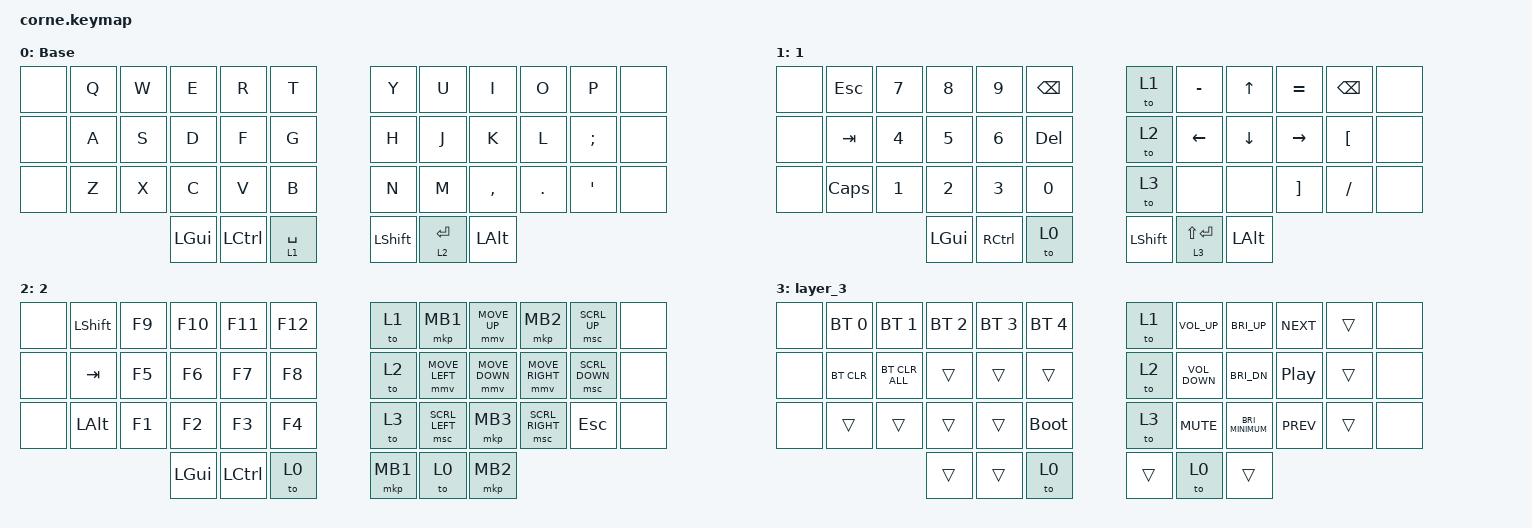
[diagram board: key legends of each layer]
/*
 * Copyright (c) 2020 The ZMK Contributors
 *
 * SPDX-License-Identifier: MIT
 */

#include <behaviors.dtsi>
#include <dt-bindings/zmk/bt.h>
#include <dt-bindings/zmk/keys.h>
#include <dt-bindings/zmk/pointing.h>

#define ZMK_POINTING_DEFAULT_MOVE_VAL 1500  // default: 600
#define ZMK_POINTING_DEFAULT_SCRL_VAL 20    // default: 10

/ {
    behaviors {
        new_behavior: new_behavior {
            compatible = "zmk,behavior-mouse-key-press";
            label = "NEW_BEHAVIOR";
            #binding-cells = <1>;
        };

        new_behavior1: new_behavior1 {
            compatible = "zmk,behavior-input-two-axis";
            label = "NEW_BEHAVIOR1";
            #binding-cells = <1>;
            x-input-code = <0>;
            y-input-code = <0>;
            time-to-max-speed-ms = <(-200)>;
        };
    };

    keymap {
        compatible = "zmk,keymap";

        default_layer {
            // -----------------------------------------------------------------------------------------
            // |  TAB |  Q  |  W  |  E  |  R  |  T  |   |  Y  |  U   |  I  |  O  |  P  | BKSP |
            // | CTRL |  A  |  S  |  D  |  F  |  G  |   |  H  |  J   |  K  |  L  |  ;  |  '   |
            // | SHFT |  Z  |  X  |  C  |  V  |  B  |   |  N  |  M   |  ,  |  .  |  /  | ESC  |
            //                    | GUI | LWR | SPC |   | ENT | RSE  | ALT |

            display-name = "Base";
            bindings = <
&none  &kp Q  &kp W  &kp E     &kp R      &kp T          &kp Y           &kp U        &kp I         &kp O    &kp P     &none
&none  &kp A  &kp S  &kp D     &kp F      &kp G          &kp H           &kp J        &kp K         &kp L    &kp SEMI  &none
&none  &kp Z  &kp X  &kp C     &kp V      &kp B          &kp N           &kp M        &kp COMMA     &kp DOT  &kp SQT   &none
                     &kp LGUI  &kp LCTRL  &lt 1 SPACE    &kp LEFT_SHIFT  &lt 2 ENTER  &kp LEFT_ALT
            >;
        };

        layer_1 {
            // -----------------------------------------------------------------------------------------
            // |  TAB |  1  |  2  |  3  |  4  |  5  |   |  6  |  7  |  8  |  9  |  0  | BKSP |
            // | BTCLR| BT1 | BT2 | BT3 | BT4 | BT5 |   | LFT | DWN |  UP | RGT |     |      |
            // | SHFT |     |     |     |     |     |   |     |     |     |     |     |      |
            //                    | GUI |     | SPC |   | ENT |     | ALT |

            display-name = "1";
            bindings = <
&none  &kp ESCAPE  &kp N7        &kp N8        &kp N9        &kp BACKSPACE    &to 1           &kp MINUS        &kp UP        &kp EQUAL          &kp BACKSPACE     &none
&none  &kp TAB     &kp NUMBER_4  &kp N5        &kp NUMBER_6  &kp DEL          &to 2           &kp LEFT         &kp DOWN      &kp RIGHT          &kp LEFT_BRACKET  &none
&none  &kp CAPS    &kp NUMBER_1  &kp NUMBER_2  &kp NUMBER_3  &kp N0           &to 3           &none            &none         &kp RIGHT_BRACKET  &kp FSLH          &none
                                 &kp LGUI      &kp RCTRL     &to 0            &kp LEFT_SHIFT  &lt 3 LS(ENTER)  &kp LEFT_ALT
            >;
        };

        layer_2 {
            // -----------------------------------------------------------------------------------------
            // |  TAB |  !  |  @  |  #  |  $  |  %  |   |  ^  |  &  |  *  |  (  |  )  | BKSP |
            // | CTRL |     |     |     |     |     |   |  -  |  =  |  [  |  ]  |  \  |  `   |
            // | SHFT |     |     |     |     |     |   |  _  |  +  |  {  |  }  | "|" |  ~   |
            //                    | GUI |     | SPC |   | ENT |     | ALT |

            display-name = "2";
            bindings = <
&none  &kp LEFT_SHIFT  &kp F9  &kp F10   &kp F11    &kp F12    &to 1     &mkp MB1        &mmv MOVE_UP    &mkp MB2         &msc SCRL_UP    &none
&none  &kp TAB         &kp F5  &kp F6    &kp F7     &kp F8     &to 2     &mmv MOVE_LEFT  &mmv MOVE_DOWN  &mmv MOVE_RIGHT  &msc SCRL_DOWN  &none
&none  &kp LEFT_ALT    &kp F1  &kp F2    &kp F3     &kp F4     &to 3     &msc SCRL_LEFT  &mkp MB3        &msc SCRL_RIGHT  &kp ESCAPE      &none
                               &kp LGUI  &kp LCTRL  &to 0      &mkp MB1  &to 0           &mkp MB2
            >;
        };

        layer_3 {
            bindings = <
&none  &bt BT_SEL 0  &bt BT_SEL 1    &bt BT_SEL 2  &bt BT_SEL 3  &bt BT_SEL 4    &to 1   &kp C_VOLUME_UP    &kp C_BRI_UP              &kp C_NEXT        &trans  &none
&none  &bt BT_CLR    &bt BT_CLR_ALL  &trans        &trans        &trans          &to 2   &kp C_VOLUME_DOWN  &kp C_BRI_DN              &kp C_PLAY_PAUSE  &trans  &none
&none  &trans        &trans          &trans        &trans        &bootloader     &to 3   &kp C_MUTE         &kp C_BRIGHTNESS_MINIMUM  &kp C_PREV        &trans  &none
                                     &trans        &trans        &to 0           &trans  &to 0              &trans
            >;
        };
    };
};
